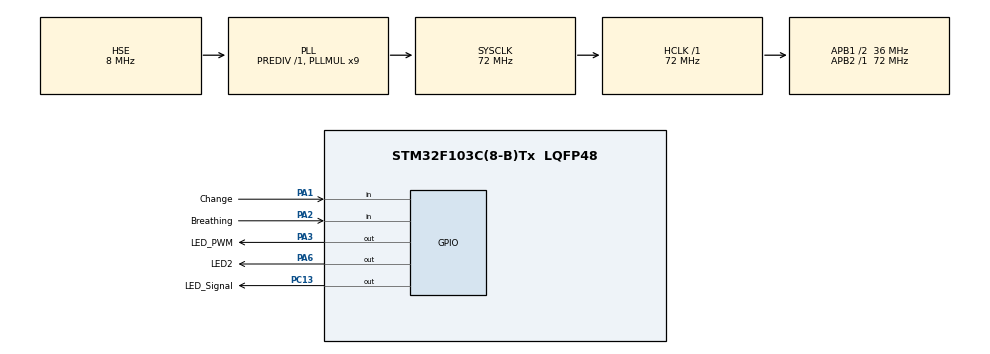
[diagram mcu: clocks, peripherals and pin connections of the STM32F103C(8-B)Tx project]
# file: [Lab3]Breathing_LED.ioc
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Mcu.Family=STM32F1
Mcu.Name=STM32F103C(8-B)Tx
Mcu.Package=LQFP48
NVIC.PriorityGroup=NVIC_PRIORITYGROUP_4
PA1.GPIO_Label=Change
PA1.GPIO_PuPd=GPIO_PULLUP
PA1.Signal=GPIO_Input
PA13.Mode=Serial_Wire
PA13.Signal=SYS_JTMS-SWDIO
PA14.Mode=Serial_Wire
PA14.Signal=SYS_JTCK-SWCLK
PA2.GPIO_Label=Breathing
PA2.GPIO_PuPd=GPIO_PULLUP
PA2.Signal=GPIO_Input
PA3.GPIO_Label=LED_PWM
PA3.GPIO_Speed=GPIO_SPEED_FREQ_HIGH
PA3.Signal=GPIO_Output
PA6.GPIO_Label=LED2
PA6.GPIO_Speed=GPIO_SPEED_FREQ_HIGH
PA6.Signal=GPIO_Output
PC13-TAMPER-RTC.GPIO_Label=LED_Signal
PC13-TAMPER-RTC.Signal=GPIO_Output
PD0-OSC_IN.Mode=HSE-External-Oscillator
PD0-OSC_IN.Signal=RCC_OSC_IN
PD1-OSC_OUT.Mode=HSE-External-Oscillator
PD1-OSC_OUT.Signal=RCC_OSC_OUT
ProjectManager.HeapSize=0x200
ProjectManager.StackSize=0x400
ProjectManager.TargetToolchain=MDK-ARM V5
RCC.AHBFreq_Value=72000000
RCC.APB1CLKDivider=RCC_HCLK_DIV2
RCC.APB1Freq_Value=36000000
RCC.APB1TimFreq_Value=72000000
RCC.APB2Freq_Value=72000000
RCC.APB2TimFreq_Value=72000000
RCC.HCLKFreq_Value=72000000
RCC.PLLMUL=RCC_PLL_MUL9
RCC.PLLSourceVirtual=RCC_PLLSOURCE_HSE
RCC.SYSCLKFreq_VALUE=72000000
RCC.SYSCLKSource=RCC_SYSCLKSOURCE_PLLCLK
RCC.USBFreq_Value=72000000
TIM2.Period=0xffff-1
TIM2.Prescaler=72-1
VP_TIM2_VS_ClockSourceINT.Mode=Internal
board=custom

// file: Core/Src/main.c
/* USER CODE BEGIN Header */
/**
  ******************************************************************************
  * @file           : main.c
  * @brief          : Main program body
  ******************************************************************************
  * @attention
  *
  * Copyright (c) 2023 STMicroelectronics.
  * All rights reserved.
  *
  * This software is licensed under terms that can be found in the LICENSE file
  * in the root directory of this software component.
  * If no LICENSE file comes with this software, it is provided AS-IS.
  *
  ******************************************************************************
  */
/* USER CODE END Header */
#include "main.h"

TIM_HandleTypeDef htim2;

/* USER CODE BEGIN PV */
uint8_t u8_Change_Status;
uint8_t u8_Breathing_Status;

uint16_t u16_Change_Cycle = 2000;
uint16_t u16_Change_DutyCycle_Ratio = 30;
uint16_t u16_Change_DutyCycle;

uint16_t u16_Breathe_Cycle_us = 100;
uint16_t u16_Breathe_DutyCycle_Ratio = 10;
uint16_t u16_Breathe_DutyCycle_us;

const uint16_t PerlinTable[] = { 5880,6225,5345,3584,3545,674,5115,598,7795,3737,3775,2129,7527,9020,368,8713,5459,1478,4043,1248,2741,5536,406,3890,1516,9288,904,483,980,7373,330,5766,9555,4694,9058,2971,100,1095,7641,2473,3698,9747,8484,7871,4579,1440,521,1325,2282,6876,1363,3469,9173,5804,2244,3430,6761,866,4885,5306,6646,6531,2703,6799,2933,6416,2818,5230,5421,1938,1134,6455,3048,5689,6148,8943,3277,4349,8866,4770,2397,8177,5191,8905,8522,4120,3622,1670,2205,1861,9479,1631,9441,4005,5574,2167,2588,1057,2512,6263,138,8369,3163,2895,8101,3009,5153,7259,8063,3507,789,6570,7756,7603,5268,5077,4541,7297,6187,3392,6378,3928,4273,7680,6723,7220,215,2550,2091,8407,8752,9670,4847,4809,291,7833,1555,5727,4617,4923,9862,3239,3354,8216,8024,7986,2359,8790,1899,713,2320,751,7067,7335,1172,1708,8637,7105,6608,8254,4655,9594,5919,177,1784,5995,6340,2780,8560,5957,3966,6034,6493,1746,6684,445,5038,942,1593,9785,827,3852,4234,4311,3124,4426,8675,8981,6914,7182,4388,4081,8445,9517,3813,8828,9709,1402,9364,7488,9211,8139,5613,559,7412,6952,6302,9326,3201,2052,5651,9096,9632,636,9249,4196,1976,7450,8292,1287,7029,7718,4158,6110,7144,3316,7909,6838,4502,4732,2014,1823,4962,253,5842,9823,5383,9134,7948,3660,8598,4464,2665,1210,1019,2856,9402,5498,5000,7565,3086,2627,8330,2435,6072,6991 };
const uint16_t min_Perlin_value = 100;
const uint16_t max_Perlin_value = 9862;
const uint16_t max_Perlin_index = UINT8_MAX;
uint16_t Perlin_current_index = 0;

/* USER CODE END PV */

void SystemClock_Config(void);
static void MX_GPIO_Init(void);
static void MX_TIM2_Init(void);

/* USER CODE BEGIN 0 */
void delay_us(uint16_t us) {
  __HAL_TIM_SET_COUNTER(&htim2, 0);  // set the counter value a 0
  while (__HAL_TIM_GET_COUNTER(&htim2) < us);  // wait for the counter to reach the us input in the parameter
}

inline void turnon_Signal() {
    HAL_GPIO_WritePin(LED_Signal_GPIO_Port, LED_Signal_Pin, 0);
}
inline void turnoff_Signal() {
    HAL_GPIO_WritePin(LED_Signal_GPIO_Port, LED_Signal_Pin, 1);
}

inline uint8_t get_Change_Status() {
  return (uint8_t) HAL_GPIO_ReadPin(Change_GPIO_Port, Change_Pin);
}

inline uint8_t get_Breathing_Status() {
  return (uint8_t) HAL_GPIO_ReadPin(Breathing_GPIO_Port, Breathing_Pin);
}

void handleChangeStatus(uint16_t* dutyCycleRange, uint8_t changeStatus) {
  if (!changeStatus) {
    turnon_Signal();
    while (HAL_GPIO_ReadPin(Change_GPIO_Port, Change_Pin) == changeStatus);
    *dutyCycleRange = (*dutyCycleRange + 20) % 100;
  }
  turnoff_Signal();
}

void blink_LED() {
    HAL_GPIO_WritePin(LED2_GPIO_Port, LED2_Pin, 1);
    HAL_Delay(u16_Change_DutyCycle);
    handleChangeStatus(&u16_Change_DutyCycle_Ratio, get_Change_Status());

    HAL_GPIO_WritePin(LED2_GPIO_Port, LED2_Pin, 0);
    HAL_Delay(u16_Change_Cycle - u16_Change_DutyCycle);
    handleChangeStatus(&u16_Change_DutyCycle_Ratio, get_Change_Status());
}

const int8_t base_increment = 1;
int8_t increment = base_increment;
void init_graduallyBreathingLED() {
  u16_Breathe_Cycle_us = 1000;
  u16_Breathe_DutyCycle_Ratio = u16_Change_DutyCycle_Ratio;
}

uint8_t isInit_graduallyBreathingLED = 0;
void graduallyBreathingLED() {
  if(!isInit_graduallyBreathingLED) {
    init_graduallyBreathingLED();
    isInit_graduallyBreathingLED = 1;
  }

  uint32_t LED_ON_TIME = 10;
  u16_Breathe_DutyCycle_us = u16_Breathe_Cycle_us * u16_Breathe_DutyCycle_Ratio / 100;

  while (LED_ON_TIME--) {
    HAL_GPIO_WritePin(LED2_GPIO_Port, LED2_Pin, 1);
    if (u16_Breathe_DutyCycle_us != 0) delay_us(u16_Breathe_DutyCycle_us);

    HAL_GPIO_WritePin(LED2_GPIO_Port, LED2_Pin, 0);
    if(u16_Breathe_Cycle_us != u16_Breathe_DutyCycle_us) delay_us(u16_Breathe_Cycle_us - u16_Breathe_DutyCycle_us);
  }

  u16_Breathe_DutyCycle_Ratio += increment;
  if (u16_Breathe_DutyCycle_Ratio == 0) increment = base_increment;
  if (u16_Breathe_DutyCycle_Ratio == 100) increment = -base_increment;
}

float map_Perlin2Percentage(uint16_t Perlin_value) {
  return (float) (Perlin_value - min_Perlin_value) / (max_Perlin_value - min_Perlin_value) * 100;
}

void init_PerlinBreathingLED() {
  u16_Breathe_Cycle_us = 300;
  Perlin_current_index = 0;
}

uint8_t isInit_PerlinBreathingLED = 0;
void PerlinBreathingLED() {
  if(!isInit_PerlinBreathingLED) {
    init_PerlinBreathingLED();
    isInit_PerlinBreathingLED = 1;
  }

  uint32_t LED_ON_TIME = 200;

  float f_Breathe_DutyCycle_Ratio = map_Perlin2Percentage(PerlinTable[Perlin_current_index]);
  u16_Breathe_DutyCycle_us = (uint16_t)((float)u16_Breathe_Cycle_us * f_Breathe_DutyCycle_Ratio / 100);

  while (LED_ON_TIME--) {
    HAL_GPIO_WritePin(LED2_GPIO_Port, LED2_Pin, 1);
    if (u16_Breathe_DutyCycle_us != 0) delay_us(u16_Breathe_DutyCycle_us);

    HAL_GPIO_WritePin(LED2_GPIO_Port, LED2_Pin, 0);
    if (u16_Breathe_Cycle_us != u16_Breathe_DutyCycle_us) delay_us(u16_Breathe_Cycle_us - u16_Breathe_DutyCycle_us);
  }

  Perlin_current_index = (Perlin_current_index + 1) % 256;
}
/* USER CODE END 0 */

int main(void)
{

  /* MCU Configuration--------------------------------------------------------*/

  /* Reset of all peripherals, Initializes the Flash interface and the Systick. */
  HAL_Init();

  /* Configure the system clock */
  SystemClock_Config();

  /* Initialize all configured peripherals */
  MX_GPIO_Init();
  MX_TIM2_Init();
  /* USER CODE BEGIN 2 */
  HAL_TIM_Base_Start(&htim2);
  /* USER CODE END 2 */

  /* Infinite loop */
  while (1)
  {

    /* USER CODE BEGIN 3 */
    u16_Change_DutyCycle = u16_Change_Cycle * u16_Change_DutyCycle_Ratio / 100;
    blink_LED();

    while(!get_Breathing_Status()) {
      turnon_Signal();
      // graduallyBreathingLED();
      PerlinBreathingLED();
      turnoff_Signal();
    }
    isInit_PerlinBreathingLED = 0;
    isInit_graduallyBreathingLED = 0;
  }
  /* USER CODE END 3 */
}

void SystemClock_Config(void)
{
  RCC_OscInitTypeDef RCC_OscInitStruct = {0};
  RCC_ClkInitTypeDef RCC_ClkInitStruct = {0};

  /** Initializes the RCC Oscillators according to the specified parameters
  * in the RCC_OscInitTypeDef structure.
  */
  RCC_OscInitStruct.OscillatorType = RCC_OSCILLATORTYPE_HSE;
  RCC_OscInitStruct.HSEState = RCC_HSE_ON;
  RCC_OscInitStruct.HSEPredivValue = RCC_HSE_PREDIV_DIV1;
  RCC_OscInitStruct.HSIState = RCC_HSI_ON;
  RCC_OscInitStruct.PLL.PLLState = RCC_PLL_ON;
  RCC_OscInitStruct.PLL.PLLSource = RCC_PLLSOURCE_HSE;
  RCC_OscInitStruct.PLL.PLLMUL = RCC_PLL_MUL9;
  if (HAL_RCC_OscConfig(&RCC_OscInitStruct) != HAL_OK)
  {
    Error_Handler();
  }

  /** Initializes the CPU, AHB and APB buses clocks
  */
  RCC_ClkInitStruct.ClockType = RCC_CLOCKTYPE_HCLK|RCC_CLOCKTYPE_SYSCLK
                              |RCC_CLOCKTYPE_PCLK1|RCC_CLOCKTYPE_PCLK2;
  RCC_ClkInitStruct.SYSCLKSource = RCC_SYSCLKSOURCE_PLLCLK;
  RCC_ClkInitStruct.AHBCLKDivider = RCC_SYSCLK_DIV1;
  RCC_ClkInitStruct.APB1CLKDivider = RCC_HCLK_DIV2;
  RCC_ClkInitStruct.APB2CLKDivider = RCC_HCLK_DIV1;

  if (HAL_RCC_ClockConfig(&RCC_ClkInitStruct, FLASH_LATENCY_2) != HAL_OK)
  {
    Error_Handler();
  }
}

static void MX_TIM2_Init(void)
{

  TIM_ClockConfigTypeDef sClockSourceConfig = {0};
  TIM_MasterConfigTypeDef sMasterConfig = {0};

  htim2.Instance = TIM2;
  htim2.Init.Prescaler = 72-1;
  htim2.Init.CounterMode = TIM_COUNTERMODE_UP;
  htim2.Init.Period = 0xffff-1;
  htim2.Init.ClockDivision = TIM_CLOCKDIVISION_DIV1;
  htim2.Init.AutoReloadPreload = TIM_AUTORELOAD_PRELOAD_DISABLE;
  if (HAL_TIM_Base_Init(&htim2) != HAL_OK)
  {
    Error_Handler();
  }
  sClockSourceConfig.ClockSource = TIM_CLOCKSOURCE_INTERNAL;
  if (HAL_TIM_ConfigClockSource(&htim2, &sClockSourceConfig) != HAL_OK)
  {
    Error_Handler();
  }
  sMasterConfig.MasterOutputTrigger = TIM_TRGO_RESET;
  sMasterConfig.MasterSlaveMode = TIM_MASTERSLAVEMODE_DISABLE;
  if (HAL_TIMEx_MasterConfigSynchronization(&htim2, &sMasterConfig) != HAL_OK)
  {
    Error_Handler();
  }

}

static void MX_GPIO_Init(void)
{
  GPIO_InitTypeDef GPIO_InitStruct = {0};

  /* GPIO Ports Clock Enable */
  __HAL_RCC_GPIOC_CLK_ENABLE();
  __HAL_RCC_GPIOD_CLK_ENABLE();
  __HAL_RCC_GPIOA_CLK_ENABLE();

  /*Configure GPIO pin Output Level */
  HAL_GPIO_WritePin(LED_Signal_GPIO_Port, LED_Signal_Pin, GPIO_PIN_RESET);

  /*Configure GPIO pin Output Level */
  HAL_GPIO_WritePin(GPIOA, LED_PWM_Pin|LED2_Pin, GPIO_PIN_RESET);

  /*Configure GPIO pin : LED_Signal_Pin */
  GPIO_InitStruct.Pin = LED_Signal_Pin;
  GPIO_InitStruct.Mode = GPIO_MODE_OUTPUT_PP;
  GPIO_InitStruct.Pull = GPIO_NOPULL;
  GPIO_InitStruct.Speed = GPIO_SPEED_FREQ_LOW;
  HAL_GPIO_Init(LED_Signal_GPIO_Port, &GPIO_InitStruct);

  /*Configure GPIO pins : Change_Pin Breathing_Pin */
  GPIO_InitStruct.Pin = Change_Pin|Breathing_Pin;
  GPIO_InitStruct.Mode = GPIO_MODE_INPUT;
  GPIO_InitStruct.Pull = GPIO_PULLUP;
  HAL_GPIO_Init(GPIOA, &GPIO_InitStruct);

  /*Configure GPIO pins : LED_PWM_Pin LED2_Pin */
  GPIO_InitStruct.Pin = LED_PWM_Pin|LED2_Pin;
  GPIO_InitStruct.Mode = GPIO_MODE_OUTPUT_PP;
  GPIO_InitStruct.Pull = GPIO_NOPULL;
  GPIO_InitStruct.Speed = GPIO_SPEED_FREQ_HIGH;
  HAL_GPIO_Init(GPIOA, &GPIO_InitStruct);

}

void Error_Handler(void)
{
  __disable_irq();
  while (1)
  {
  }
}
